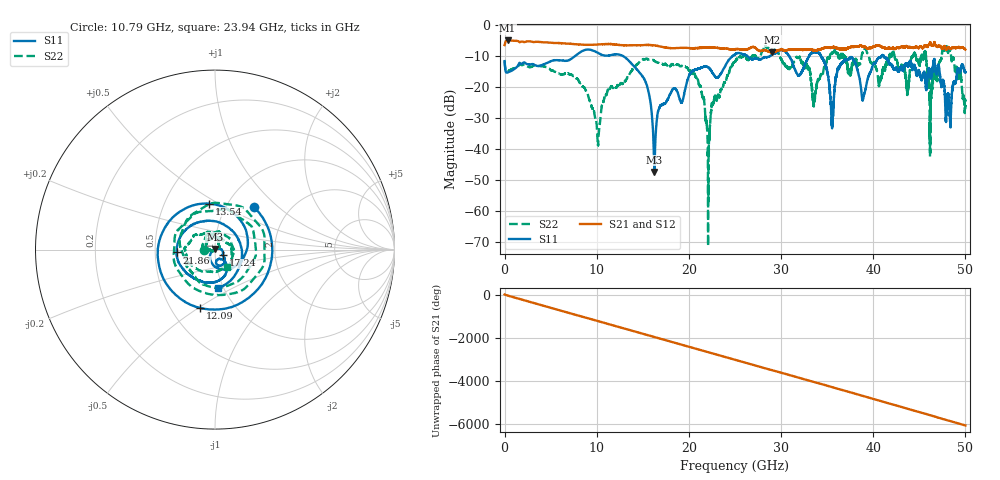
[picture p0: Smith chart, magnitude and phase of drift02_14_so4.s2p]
!Created with skrf (http://scikit-rf.org).
# Hz S RI R 50.0
!freq ReS11 ImS11 ReS21 ImS21 ReS12 ImS12 ReS22 ImS22
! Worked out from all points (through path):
!   10001 points, 300 kHz to 50 GHz, reference 50 ohm
!   highest |S21| = -5.04 dB at 325.3 MHz (marker M1); lowest = -8.9 dB at 29.05 GHz (marker M2)
!   group delay of S21, straight-line fit = 336 ps
!   lowest |S11| = -47.3 dB at 16.25 GHz (marker M3), VSWR 1.01, Z = 49.8 + j0.387 ohm
!   |S11| at or under -10 dB: start of sweep to 7.668 GHz; 12.81 GHz to 24.78 GHz (11.96 GHz wide, 63.6 % of centre); 41.13 GHz to end of sweep (the widest 3 of 12)
!   |S22| runs from -71.2 to -6.8 dB; largest |S21 - S12| = 0.032
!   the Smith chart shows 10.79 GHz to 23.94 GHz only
!   S11 on the Smith chart (normalised r, x): 10.79 GHz: 1.34, +0.71; 12.09 GHz: 0.69, -0.51; 13.54 GHz: 0.82, +0.45; 17.24 GHz: 1.09, -0.07; 21.86 GHz: 0.65, -0.02; 23.94 GHz: 0.95, -0.43
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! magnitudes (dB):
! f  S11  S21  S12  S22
! 300 kHz  -11.7  -6.5  -6.5  -11.7
! 325.3 MHz  -15.3  -5.0  -5.0  -15.1
! 8.335 GHz  -8.6  -6.4  -6.4  -19.1
! 10.11 GHz  -9.0  -6.4  -6.3  -37.9
! 10.79 GHz  -9.9  -6.2  -6.2  -24.0
! 12.09 GHz  -9.5  -6.4  -6.4  -20.2
! 13.54 GHz  -11.8  -6.6  -6.6  -15.9
! 16.25 GHz  -47.3  -6.6  -6.6  -11.6
! 16.67 GHz  -27.6  -6.8  -6.8  -12.2
! 17.24 GHz  -25.4  -7.2  -7.2  -12.8
! 20.73 GHz  -14.3  -7.5  -7.5  -16.8
! 21.86 GHz  -13.4  -7.3  -7.3  -31.1
! 23.94 GHz  -13.3  -7.6  -7.6  -18.6
! 25 GHz  -9.5  -7.8  -7.9  -11.8
! 29.05 GHz  -9.6  -8.9  -8.9  -8.2
! 33.34 GHz  -9.1  -8.0  -8.0  -19.9
! 35.55 GHz  -30.6  -7.2  -7.3  -9.1
! 36.79 GHz  -11.6  -7.9  -8.0  -9.9
! 41.67 GHz  -11.9  -7.4  -7.5  -12.0
! 46.25 GHz  -16.5  -6.1  -6.1  -23.9
! 48.13 GHz  -22.1  -7.2  -7.2  -8.7
! 50 GHz  -15.2  -8.0  -7.9  -24.7
